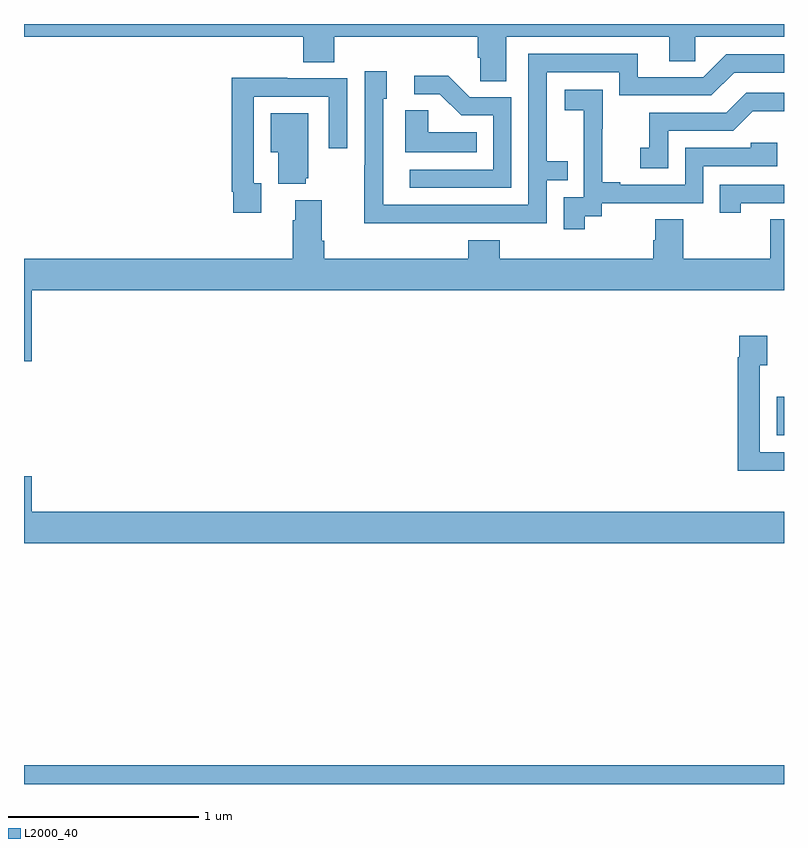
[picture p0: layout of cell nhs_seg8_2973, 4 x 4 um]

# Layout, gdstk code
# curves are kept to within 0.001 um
import gdstk
lib = gdstk.Library(unit=1e-6, precision=1e-09)
def R(c, l, rs):  # rectangles x0, y0, x1, y1
    for r in rs: c.add(gdstk.rectangle(r[:2], r[2:], *l))
def P(c, l, *ps):  # polygons
    for p in ps: c.add(gdstk.Polygon(p, *l))
L2000_40 = (2000, 40)

nhs_seg8_2973 = lib.new_cell('nhs_seg8_2973')
R(nhs_seg8_2973, L2000_40, [(297,1113.9,301,1114), (300.962,1115.735,301,1115.938)])
P(nhs_seg8_2973, L2000_40, [(299.539,1117.832),(300.395,1117.832),(300.395,1117.705),(300.534,1117.705),(300.534,1117.832),(301,1117.832),(301,1117.9),(297,1117.9),(297,1117.832),(298.469,1117.832),(298.469,1117.699),(298.634,1117.699),(298.634,1117.832),(299.387,1117.832),(299.387,1117.723),(299.4,1117.723),(299.4,1117.6),(299.539,1117.6)],
  [(299.255,1116.852),(299.751,1116.852),(299.751,1117.077),(299.861,1117.077),(299.861,1117.178),(299.751,1117.178),(299.751,1117.647),(300.132,1117.647),(300.132,1117.524),(300.618,1117.524),(300.738,1117.644),(301,1117.644),(301,1117.74),(300.696,1117.74),(300.576,1117.62),(300.229,1117.62),(300.229,1117.743),(299.655,1117.743),(299.655,1116.948),(298.89,1116.948),(298.89,1117.506),(298.909,1117.506),(298.909,1117.651),(298.794,1117.651),(298.794,1117.157),(298.792,1117.157),(298.792,1116.851)],
  [(299.565,1117.515),(299.346,1117.515),(299.233,1117.628),(299.055,1117.628),(299.055,1117.53),(299.189,1117.53),(299.3,1117.419),(299.469,1117.419),(299.469,1117.134),(299.031,1117.134),(299.031,1117.038),(299.565,1117.038)],
  [(298.249,1117.062),(298.209,1117.062),(298.209,1117.518),(298.605,1117.518),(298.605,1117.245),(298.701,1117.245),(298.701,1117.614),(298.385,1117.614),(298.385,1117.616),(298.093,1117.616),(298.093,1117.018),(298.101,1117.018),(298.101,1116.906),(298.249,1116.906)],
  [(299.95,1116.889),(300.042,1116.889),(300.042,1116.957),(300.576,1116.957),(300.576,1117.152),(300.965,1117.152),(300.965,1117.275),(300.825,1117.275),(300.825,1117.248),(300.48,1117.248),(300.48,1117.053),(300.139,1117.053),(300.139,1117.066),(300.044,1117.066),(300.044,1117.349),(300.045,1117.349),(300.045,1117.555),(299.847,1117.555),(299.847,1117.445),(299.945,1117.445),(299.945,1117.217),(299.946,1117.217),(299.946,1116.987),(299.841,1116.987),(299.841,1116.819),(299.95,1116.819)],
  [(300.39,1117.338),(300.732,1117.338),(300.836,1117.442),(301,1117.442),(301,1117.539),(300.8,1117.539),(300.695,1117.434),(300.292,1117.434),(300.292,1117.249),(300.243,1117.249),(300.243,1117.14),(300.39,1117.14)],
  [(299.384,1117.33),(299.127,1117.33),(299.127,1117.445),(299.006,1117.445),(299.006,1117.226),(299.384,1117.226)],
  [(298.484,1117.089),(298.495,1117.089),(298.495,1117.429),(298.298,1117.429),(298.298,1117.226),(298.337,1117.226),(298.337,1117.058),(298.484,1117.058)],
  [(300.772,1116.957),(301,1116.957),(301,1117.053),(300.661,1117.053),(300.661,1116.906),(300.772,1116.906)],
  [(297.04,1116.5),(301,1116.5),(301,1116.872),(300.928,1116.872),(300.928,1116.664),(300.471,1116.664),(300.471,1116.872),(300.323,1116.872),(300.323,1116.762),(300.311,1116.762),(300.311,1116.664),(299.504,1116.664),(299.504,1116.763),(299.339,1116.763),(299.339,1116.664),(298.58,1116.664),(298.58,1116.76),(298.567,1116.76),(298.567,1116.973),(298.427,1116.973),(298.427,1116.866),(298.415,1116.866),(298.415,1116.664),(297,1116.664),(297,1116.126),(297.04,1116.126)],
  [(301,1115.646),(300.873,1115.646),(300.873,1116.103),(300.913,1116.103),(300.913,1116.259),(300.765,1116.259),(300.765,1116.146),(300.757,1116.146),(300.757,1115.549),(301,1115.549)],
  [(301,1115.332),(297.04,1115.332),(297.04,1115.521),(297,1115.521),(297,1115.168),(301,1115.168)])

lib.write_gds('nhs_seg8_2973.gds')
